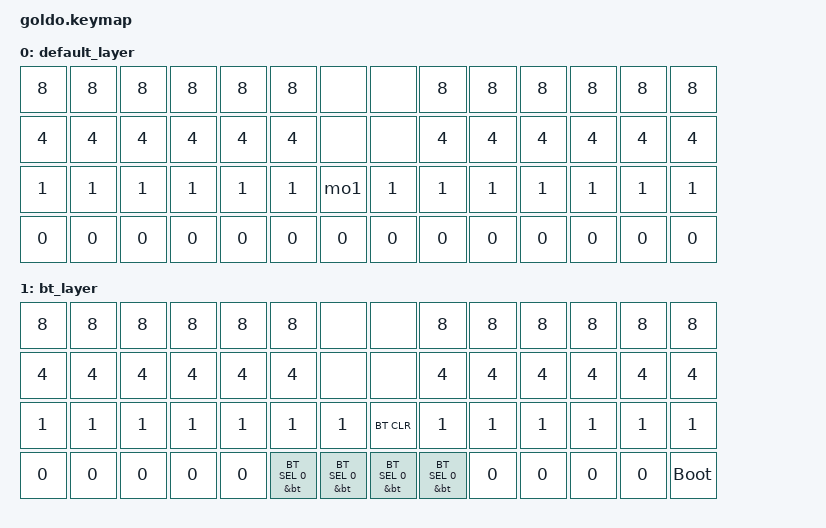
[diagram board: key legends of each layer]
#include <behaviors.dtsi>
#include <dt-bindings/zmk/keys.h>
#include <dt-bindings/zmk/bt.h>

/ {  
    keymap {
        compatible = "zmk,keymap";

        default_layer {
            bindings = <
                &kp N8    &kp N8    &kp N8    &kp N8    &kp N8    &kp N8    &none     &none     &kp N8    &kp N8    &kp N8    &kp N8    &kp N8    &kp N8
                &kp N4    &kp N4    &kp N4    &kp N4    &kp N4    &kp N4    &none     &none     &kp N4    &kp N4    &kp N4    &kp N4    &kp N4    &kp N4
                &kp N1    &kp N1    &kp N1    &kp N1    &kp N1    &kp N1    &mo1      &kp N1    &kp N1    &kp N1    &kp N1    &kp N1    &kp N1    &kp N1
                &kp N0    &kp N0    &kp N0    &kp N0    &kp N0    &kp N0    &kp N0    &kp N0    &kp N0    &kp N0    &kp N0    &kp N0    &kp N0    &kp N0
            >;        
        }; 
        
        bt_layer {
            bindings = <
                &kp N8    &kp N8    &kp N8    &kp N8    &kp N8    &kp N8           &none            &none            &kp N8           &kp N8    &kp N8    &kp N8    &kp N8    &kp N8
                &kp N4    &kp N4    &kp N4    &kp N4    &kp N4    &kp N4           &none            &none            &kp N4           &kp N4    &kp N4    &kp N4    &kp N4    &kp N4
                &kp N1    &kp N1    &kp N1    &kp N1    &kp N1    &kp N1           &kp N1           &bt BT_CLR       &kp N1           &kp N1    &kp N1    &kp N1    &kp N1    &kp N1
                &kp N0    &kp N0    &kp N0    &kp N0    &kp N0    &&bt BT_SEL 0    &&bt BT_SEL 0    &&bt BT_SEL 0    &&bt BT_SEL 0    &kp N0    &kp N0    &kp N0    &kp N0    &bootloader 
            >;
        };
    };
};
